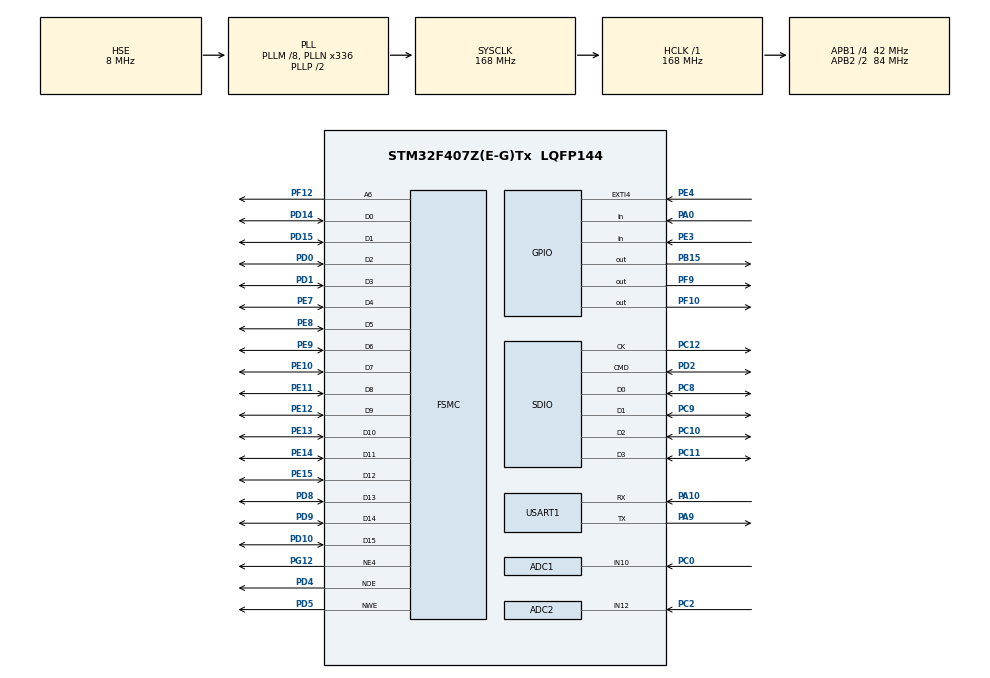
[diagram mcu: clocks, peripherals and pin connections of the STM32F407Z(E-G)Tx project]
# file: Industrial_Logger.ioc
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ADC1.Channel-0\#ChannelRegularConversion=ADC_CHANNEL_10
ADC1.ClockPrescaler=ADC_CLOCK_SYNC_PCLK_DIV4
ADC1.ContinuousConvMode=DISABLE
ADC1.DMAContinuousRequests=ENABLE
ADC1.DiscontinuousConvMode=DISABLE
ADC1.EnableAnalogWatchDog=true
ADC1.ExternalTrigConv=ADC_EXTERNALTRIGCONV_T2_TRGO
ADC1.HighThreshold=3000
ADC1.InjNumberOfConversion=0
ADC1.LowThreshold=1000
ADC1.NbrOfConversionFlag=1
ADC1.Rank-0\#ChannelRegularConversion=1
ADC1.SamplingTime-0\#ChannelRegularConversion=ADC_SAMPLETIME_3CYCLES
ADC1.ScanConvMode=ENABLE
ADC1.WatchdogChannel=ADC_CHANNEL_10
ADC1.master=1
ADC2.Channel-0\#ChannelRegularConversion=ADC_CHANNEL_12
ADC2.ClockPrescaler=ADC_CLOCK_SYNC_PCLK_DIV4
ADC2.NbrOfConversionFlag=1
ADC2.Rank-0\#ChannelRegularConversion=1
ADC2.SamplingTime-0\#ChannelRegularConversion=ADC_SAMPLETIME_3CYCLES
Dma.ADC1.0.Direction=DMA_PERIPH_TO_MEMORY
Dma.ADC1.0.FIFOMode=DMA_FIFOMODE_DISABLE
Dma.ADC1.0.Instance=DMA2_Stream0
Dma.ADC1.0.MemDataAlignment=DMA_MDATAALIGN_HALFWORD
Dma.ADC1.0.MemInc=DMA_MINC_ENABLE
Dma.ADC1.0.Mode=DMA_CIRCULAR
Dma.ADC1.0.PeriphDataAlignment=DMA_PDATAALIGN_HALFWORD
Dma.ADC1.0.PeriphInc=DMA_PINC_DISABLE
Dma.ADC1.0.Priority=DMA_PRIORITY_HIGH
Dma.Request0=ADC1
Dma.Request1=SDIO_RX
Dma.Request2=SDIO_TX
Dma.SDIO_RX.1.Direction=DMA_PERIPH_TO_MEMORY
Dma.SDIO_RX.1.FIFOMode=DMA_FIFOMODE_ENABLE
Dma.SDIO_RX.1.FIFOThreshold=DMA_FIFO_THRESHOLD_FULL
Dma.SDIO_RX.1.Instance=DMA2_Stream3
Dma.SDIO_RX.1.MemBurst=DMA_MBURST_INC4
Dma.SDIO_RX.1.MemDataAlignment=DMA_MDATAALIGN_WORD
Dma.SDIO_RX.1.MemInc=DMA_MINC_ENABLE
Dma.SDIO_RX.1.Mode=DMA_PFCTRL
Dma.SDIO_RX.1.PeriphBurst=DMA_PBURST_INC4
Dma.SDIO_RX.1.PeriphDataAlignment=DMA_PDATAALIGN_WORD
Dma.SDIO_RX.1.PeriphInc=DMA_PINC_DISABLE
Dma.SDIO_RX.1.Priority=DMA_PRIORITY_LOW
Dma.SDIO_TX.2.Direction=DMA_MEMORY_TO_PERIPH
Dma.SDIO_TX.2.FIFOMode=DMA_FIFOMODE_ENABLE
Dma.SDIO_TX.2.FIFOThreshold=DMA_FIFO_THRESHOLD_FULL
Dma.SDIO_TX.2.Instance=DMA2_Stream6
Dma.SDIO_TX.2.MemBurst=DMA_MBURST_INC4
Dma.SDIO_TX.2.MemDataAlignment=DMA_MDATAALIGN_WORD
Dma.SDIO_TX.2.MemInc=DMA_MINC_ENABLE
Dma.SDIO_TX.2.Mode=DMA_PFCTRL
Dma.SDIO_TX.2.PeriphBurst=DMA_PBURST_INC4
Dma.SDIO_TX.2.PeriphDataAlignment=DMA_PDATAALIGN_WORD
Dma.SDIO_TX.2.PeriphInc=DMA_PINC_DISABLE
Dma.SDIO_TX.2.Priority=DMA_PRIORITY_LOW
FATFS._USE_LFN=2
FREERTOS.Tasks01=defaultTask,24,128,StartDefaultTask,Default,NULL,Dynamic,NULL,NULL
FREERTOS.configGENERATE_RUN_TIME_STATS=1
FREERTOS.configTOTAL_HEAP_SIZE=32768
FREERTOS.configUSE_IDLE_HOOK=0
FREERTOS.configUSE_STATS_FORMATTING_FUNCTIONS=1
FSMC.BusTurnAroundDuration1=5
FSMC.DataSetupTime1=120
Mcu.Family=STM32F4
Mcu.Name=STM32F407Z(E-G)Tx
Mcu.Package=LQFP144
NVIC.DMA2_Stream0_IRQn=true\:5\:0\:false\:false\:true\:true\:false\:true\:true
NVIC.DMA2_Stream3_IRQn=true\:5\:0\:false\:false\:true\:true\:false\:true\:true
NVIC.DMA2_Stream6_IRQn=true\:5\:0\:false\:false\:true\:true\:false\:true\:true
NVIC.PriorityGroup=NVIC_PRIORITYGROUP_4
NVIC.SDIO_IRQn=true\:5\:0\:true\:false\:true\:true\:true\:true\:true
NVIC.TIM3_IRQn=true\:5\:0\:true\:false\:true\:true\:true\:true\:true
NVIC.TIM6_DAC_IRQn=true\:15\:0\:false\:false\:true\:false\:false\:true\:true
NVIC.TimeBase=TIM6_DAC_IRQn
NVIC.TimeBaseIP=TIM6
NVIC.USART1_IRQn=true\:5\:0\:false\:false\:true\:true\:true\:true\:true
PA0-WKUP.GPIO_PuPd=GPIO_PULLDOWN
PA0-WKUP.Signal=GPIO_Input
PA10.Mode=Asynchronous
PA10.Signal=USART1_RX
PA13.Mode=Serial_Wire
PA13.Signal=SYS_JTMS-SWDIO
PA14.Mode=Serial_Wire
PA14.Signal=SYS_JTCK-SWCLK
PA9.Mode=Asynchronous
PA9.Signal=USART1_TX
PB15.Signal=GPIO_Output
PC0.Signal=ADCx_IN10
PC10.Mode=SD_4_bits_Wide_bus
PC10.Signal=SDIO_D2
PC11.Mode=SD_4_bits_Wide_bus
PC11.Signal=SDIO_D3
PC12.Mode=SD_4_bits_Wide_bus
PC12.Signal=SDIO_CK
PC14-OSC32_IN.Mode=LSE-External-Oscillator
PC14-OSC32_IN.Signal=RCC_OSC32_IN
PC15-OSC32_OUT.Mode=LSE-External-Oscillator
PC15-OSC32_OUT.Signal=RCC_OSC32_OUT
PC2.Signal=ADCx_IN12
PC8.Mode=SD_4_bits_Wide_bus
PC8.Signal=SDIO_D0
PC9.Mode=SD_4_bits_Wide_bus
PC9.Signal=SDIO_D1
PD0.Signal=FSMC_D2_DA2
PD1.Signal=FSMC_D3_DA3
PD10.Signal=FSMC_D15_DA15
PD14.Signal=FSMC_D0_DA0
PD15.Signal=FSMC_D1_DA1
PD2.Mode=SD_4_bits_Wide_bus
PD2.Signal=SDIO_CMD
PD4.Signal=FSMC_NOE
PD5.Signal=FSMC_NWE
PD8.Signal=FSMC_D13_DA13
PD9.Signal=FSMC_D14_DA14
PE10.Signal=FSMC_D7_DA7
PE11.Signal=FSMC_D8_DA8
PE12.Signal=FSMC_D9_DA9
PE13.Signal=FSMC_D10_DA10
PE14.Signal=FSMC_D11_DA11
PE15.Signal=FSMC_D12_DA12
PE3.GPIO_PuPd=GPIO_PULLUP
PE3.Signal=GPIO_Input
PE4.GPIO_PuPd=GPIO_PULLUP
PE4.Signal=GPXTI4
PE7.Signal=FSMC_D4_DA4
PE8.Signal=FSMC_D5_DA5
PE9.Signal=FSMC_D6_DA6
PF10.Signal=GPIO_Output
PF12.Signal=FSMC_A6
PF9.Signal=GPIO_Output
PG12.Mode=NorPsramChipSelect4_1
PG12.Signal=FSMC_NE4
PH0-OSC_IN.Mode=HSE-External-Oscillator
PH0-OSC_IN.Signal=RCC_OSC_IN
PH1-OSC_OUT.Mode=HSE-External-Oscillator
PH1-OSC_OUT.Signal=RCC_OSC_OUT
ProjectManager.HeapSize=0x1000
ProjectManager.StackSize=0x1000
ProjectManager.TargetToolchain=CMake
RCC.48MHZClocksFreq_Value=48000000
RCC.AHBFreq_Value=168000000
RCC.APB1CLKDivider=RCC_HCLK_DIV4
RCC.APB1Freq_Value=42000000
RCC.APB1TimFreq_Value=84000000
RCC.APB2CLKDivider=RCC_HCLK_DIV2
RCC.APB2Freq_Value=84000000
RCC.APB2TimFreq_Value=168000000
RCC.CortexFreq_Value=168000000
RCC.HCLKFreq_Value=168000000
RCC.HSE_VALUE=8000000
RCC.HSI_VALUE=16000000
RCC.PLLM=8
RCC.PLLN=336
RCC.PLLQ=7
RCC.PLLSourceVirtual=RCC_PLLSOURCE_HSE
RCC.RCC_RTC_Clock_Source=RCC_RTCCLKSOURCE_LSE
RCC.RCC_RTC_Clock_SourceVirtual=RCC_RTCCLKSOURCE_LSE
RCC.SYSCLKFreq_VALUE=168000000
RCC.SYSCLKSource=RCC_SYSCLKSOURCE_PLLCLK
RCC.VCOOutputFreq_Value=336000000
RTC.Date=17
RTC.Format=RTC_FORMAT_BIN
RTC.Hours=21
RTC.Minutes=46
RTC.Month=RTC_MONTH_SEPTEMBER
RTC.Year=26
SH.ADCx_IN10.0=ADC1_IN10,IN10
SH.ADCx_IN12.0=ADC2_IN12,IN12
SH.FSMC_A6.0=FSMC_A6,A6_1
SH.FSMC_D0_DA0.0=FSMC_D0,16b-d1
SH.FSMC_D10_DA10.0=FSMC_D10,16b-d1
SH.FSMC_D11_DA11.0=FSMC_D11,16b-d1
SH.FSMC_D12_DA12.0=FSMC_D12,16b-d1
SH.FSMC_D13_DA13.0=FSMC_D13,16b-d1
SH.FSMC_D14_DA14.0=FSMC_D14,16b-d1
SH.FSMC_D15_DA15.0=FSMC_D15,16b-d1
SH.FSMC_D1_DA1.0=FSMC_D1,16b-d1
SH.FSMC_D2_DA2.0=FSMC_D2,16b-d1
SH.FSMC_D3_DA3.0=FSMC_D3,16b-d1
SH.FSMC_D4_DA4.0=FSMC_D4,16b-d1
SH.FSMC_D5_DA5.0=FSMC_D5,16b-d1
SH.FSMC_D6_DA6.0=FSMC_D6,16b-d1
SH.FSMC_D7_DA7.0=FSMC_D7,16b-d1
SH.FSMC_D8_DA8.0=FSMC_D8,16b-d1
SH.FSMC_D9_DA9.0=FSMC_D9,16b-d1
SH.FSMC_NOE.0=FSMC_NOE,Lcd1
SH.FSMC_NWE.0=FSMC_NWE,Lcd1
TIM2.AutoReloadPreload=TIM_AUTORELOAD_PRELOAD_ENABLE
TIM2.Period=999
TIM2.Prescaler=167
TIM2.TIM_MasterOutputTrigger=TIM_TRGO_UPDATE
USART1.VirtualMode=VM_ASYNC
VP_FATFS_VS_SDIO.Mode=SDIO
VP_FREERTOS_VS_CMSIS_V2.Mode=CMSIS_V2
VP_RTC_VS_RTC_Activate.Mode=RTC_Enabled
VP_RTC_VS_RTC_Calendar.Mode=RTC_Calendar
VP_SYS_VS_tim6.Mode=TIM6
VP_TIM2_VS_ClockSourceINT.Mode=Internal
VP_TIM3_VS_ClockSourceINT.Mode=Internal
board=custom

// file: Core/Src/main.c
/* USER CODE BEGIN Header */
/**
  ******************************************************************************
  * @file           : main.c
  * @brief          : Main program body
  ******************************************************************************
  * @attention
  *
  * Copyright (c) 2026 STMicroelectronics.
  * All rights reserved.
  *
  * This software is licensed under terms that can be found in the LICENSE file
  * in the root directory of this software component.
  * If no LICENSE file comes with this software, it is provided AS-IS.
  *
  ******************************************************************************
  */
/* USER CODE END Header */
#include "main.h"
#include "cmsis_os.h"
#include "adc.h"
#include "dma.h"
#include "fatfs.h"
#include "rtc.h"
#include "sdio.h"
#include "tim.h"
#include "usart.h"
#include "gpio.h"
#include "fsmc.h"

/* USER CODE BEGIN Includes */
#include <unistd.h>
#include <stdio.h>
#include "board.h"
#include "lcd.h"
/* USER CODE END Includes */

void SystemClock_Config(void);
void MX_FREERTOS_Init(void);

int main(void)
{

  /* MCU Configuration--------------------------------------------------------*/

  /* Reset of all peripherals, Initializes the Flash interface and the Systick. */
  HAL_Init();

  /* Configure the system clock */
  SystemClock_Config();

  /* USER CODE BEGIN SysInit */
__HAL_RCC_SDIO_CLK_ENABLE();
__HAL_RCC_SDIO_FORCE_RESET();
__HAL_RCC_SDIO_RELEASE_RESET();
  /* USER CODE END SysInit */

  /* Initialize all configured peripherals */
  MX_GPIO_Init();
  MX_DMA_Init();
  MX_ADC1_Init();
  MX_TIM2_Init();
  MX_USART1_UART_Init();
  MX_ADC2_Init();
  MX_FSMC_Init();
  MX_RTC_Init();
  MX_SDIO_SD_Init();
  MX_FATFS_Init();
  MX_TIM3_Init();
  /* USER CODE BEGIN 2 */
  printf("System initialized.\r\n");
  printf("Free Heap: %u bytes\r\n", xPortGetFreeHeapSize());
  HAL_TIM_Base_Start_IT(&htim3);
	Board_Init();
  /* USER CODE END 2 */

  /* Init scheduler */
  osKernelInitialize();  /* Call init function for freertos objects (in cmsis_os2.c) */
  MX_FREERTOS_Init();

  /* Start scheduler */
  osKernelStart();

  /* We should never get here as control is now taken by the scheduler */

  /* Infinite loop */
  while (1)
  {

  }
}

void SystemClock_Config(void)
{
  RCC_OscInitTypeDef RCC_OscInitStruct = {0};
  RCC_ClkInitTypeDef RCC_ClkInitStruct = {0};

  /** Configure the main internal regulator output voltage
  */
  __HAL_RCC_PWR_CLK_ENABLE();
  __HAL_PWR_VOLTAGESCALING_CONFIG(PWR_REGULATOR_VOLTAGE_SCALE1);

  /** Initializes the RCC Oscillators according to the specified parameters
  * in the RCC_OscInitTypeDef structure.
  */
  RCC_OscInitStruct.OscillatorType = RCC_OSCILLATORTYPE_HSE|RCC_OSCILLATORTYPE_LSE;
  RCC_OscInitStruct.HSEState = RCC_HSE_ON;
  RCC_OscInitStruct.LSEState = RCC_LSE_ON;
  RCC_OscInitStruct.PLL.PLLState = RCC_PLL_ON;
  RCC_OscInitStruct.PLL.PLLSource = RCC_PLLSOURCE_HSE;
  RCC_OscInitStruct.PLL.PLLM = 8;
  RCC_OscInitStruct.PLL.PLLN = 336;
  RCC_OscInitStruct.PLL.PLLP = RCC_PLLP_DIV2;
  RCC_OscInitStruct.PLL.PLLQ = 7;
  if (HAL_RCC_OscConfig(&RCC_OscInitStruct) != HAL_OK)
  {
    Error_Handler();
  }

  /** Initializes the CPU, AHB and APB buses clocks
  */
  RCC_ClkInitStruct.ClockType = RCC_CLOCKTYPE_HCLK|RCC_CLOCKTYPE_SYSCLK
                              |RCC_CLOCKTYPE_PCLK1|RCC_CLOCKTYPE_PCLK2;
  RCC_ClkInitStruct.SYSCLKSource = RCC_SYSCLKSOURCE_PLLCLK;
  RCC_ClkInitStruct.AHBCLKDivider = RCC_SYSCLK_DIV1;
  RCC_ClkInitStruct.APB1CLKDivider = RCC_HCLK_DIV4;
  RCC_ClkInitStruct.APB2CLKDivider = RCC_HCLK_DIV2;

  if (HAL_RCC_ClockConfig(&RCC_ClkInitStruct, FLASH_LATENCY_5) != HAL_OK)
  {
    Error_Handler();
  }
}

/* USER CODE BEGIN 4 */

int _write(int file, char *ptr, int len)
{
    HAL_UART_Transmit(&huart1, (uint8_t *)ptr, len, 100);
    return len;
}

void vApplicationStackOverflowHook(TaskHandle_t xTask, char *pcTaskName)
{
    printf("STACK OVERFLOW! Task: %s\r\n", pcTaskName);
    while(1);
}
/* USER CODE END 4 */

void HAL_TIM_PeriodElapsedCallback(TIM_HandleTypeDef *htim)
{
  if (htim->Instance == TIM6)
  {
    HAL_IncTick();
  }
  /* USER CODE BEGIN Callback 1 */
  if (htim->Instance == TIM3) {
      extern volatile uint32_t cpu_runtime_counter; // 声明外部变量
      cpu_runtime_counter++;
  }
  /* USER CODE END Callback 1 */
}

void Error_Handler(void)
{
  __disable_irq();
  while (1)
  {
  }
}

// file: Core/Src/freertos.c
/* USER CODE BEGIN Header */
/**
  ******************************************************************************
  * File Name          : freertos.c
  * Description        : Code for freertos applications
  ******************************************************************************
  * @attention
  *
  * Copyright (c) 2026 STMicroelectronics.
  * All rights reserved.
  *
  * This software is licensed under terms that can be found in the LICENSE file
  * in the root directory of this software component.
  * If no LICENSE file comes with this software, it is provided AS-IS.
  *
  ******************************************************************************
  */
/* USER CODE END Header */

#include "FreeRTOS.h"
#include "task.h"
#include "main.h"
#include "cmsis_os.h"

/* Definitions for defaultTask */
osThreadId_t defaultTaskHandle;
const osThreadAttr_t defaultTask_attributes = {
  .name = "defaultTask",
  .stack_size = 128 * 4,
  .priority = (osPriority_t) osPriorityNormal,
};

void StartDefaultTask(void *argument);

void MX_FREERTOS_Init(void); /* (MISRA C 2004 rule 8.1) */

/* Hook prototypes */
void configureTimerForRunTimeStats(void);
unsigned long getRunTimeCounterValue(void);

/* USER CODE BEGIN 1 */
/* Functions needed when configGENERATE_RUN_TIME_STATS is on */
__weak void configureTimerForRunTimeStats(void)
{

}

__weak unsigned long getRunTimeCounterValue(void)
{
return 0;
}
/* USER CODE END 1 */

void MX_FREERTOS_Init(void) {

  /* Create the thread(s) */
  /* creation of defaultTask */
  defaultTaskHandle = osThreadNew(StartDefaultTask, NULL, &defaultTask_attributes);

}

void StartDefaultTask(void *argument)
{
  for(;;)
  {
    osDelay(1);
  }
}
